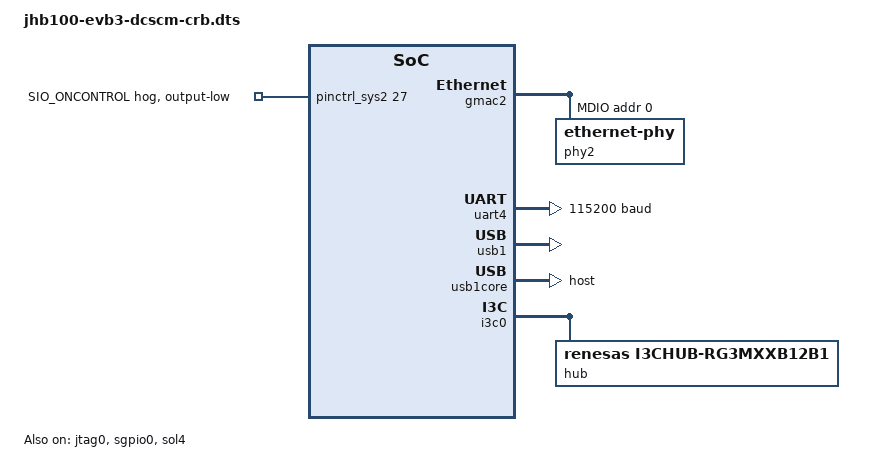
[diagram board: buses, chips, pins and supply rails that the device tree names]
// SPDX-License-Identifier: GPL-2.0 OR MIT
/*
 * Copyright (c) 2025 StarFive Technology Co., Ltd.
 */

#include "jhb100-evb3.dtsi"
#include "jhb100-dcscm-baseboard.dtsi"

/ {
	chosen {
		stdout-path = "serial4:115200n8";
	};
};

&espi0 {
	starfive,vgpio_mode = <1>;
	gpio-line-names  =
										/* Output pins */
		"", "", "", "",							/* VGPIO0-3 */
		"VW_FM_DUAL_PARTITION_N", "VW_FM_STANDALONE_MODE_N",		/* VGPIO4-5 */
		"VW_FM_4S_8S_N_MODE", "VW_FM_NODE_ID_1",			/* VGPIO6-7 */
		"VW_FM_NODE_ID_0", "", "", "", "", "", "", "",			/* VGPIO8-15*/
		"", "", "", "",	"", "", "", "",					/* VGPIO16-23 */
		"", "", "", "",	"", "", "", "",					/* VGPIO23-31 */
										/* Input pins */
		"", "", "", "",							/* VGPIO32-35 */
		"VW_FM_BIOS_POST_CMPLT_N", "VW_CORE_BIOS_DONE_N", "", "",	/* VGPIO36-39 */
		"", "", "", "",	"", "", "", "",					/* VGPIO40-47 */
		"", "", "", "",	"", "", "", "",					/* VGPIO48-55 */
		"", "", "", "",	"", "", "", "";					/* VGPIO56-63 */
};

&gmac2 {
	mdio {
		phy2: ethernet-phy@2 {
			reg = <0>;
		};
	};
};

&jtag0 {
	status = "okay";
};

&jtag1 {
	status = "disabled";
};

&pinctrl_adc0 {
	gpio-line-names =
		"IRQ_SML1_PMBUS_BMC_ALERT_N", "FM_SPD_SWITCH_CTRL_N",	/* GPIOG0-1 */
		"NMI_BUTTON", "FP_LED_STATUS_GREEN_N",			/* GPIOG2-3 */
		"FP_ID_BTN_N", "PWRGD_AUX_PWRGD_BMC_CPU0",		/* GPIOG4-5 */
		"NC", "NC";						/* GPIOG6-7 */
};

&pinctrl_adc1 {
	gpio-line-names =
		"RST_BMC_PCIE_MUX_N", "RST_BMC_HSBP_MUX_N",		/* GPIOH0-1 */
		"FM_SMB_BMC_NVME_LVC3_ALERT_N", "FM_PARTITION_SEL",	/* GPIOH2-3 */
		"REMOTE_DEBUG_ENABLE", "SIO_S3", "NC", "NC";		/* GPIOH4-7 */
};

&pinctrl_bmcperiph0 {
	gpio-line-names =
		"I2C0_SCL", "I2C0_SDA", "I2C1_SCL", "I2C1_SDA",			/* GPIOB0-3 */
		"I2C2_SCL", "I2C2_SDA", "I2C3_SCL", "I2C3_SDA",			/* GPIOB4-7 */
		"I2C4_SCL", "I2C4_SDA",						/* GPIOB8-9 */
		"PCH_BMC_THERMTRIP", "CPU_CATERR",				/* GPIOB10-11 */
		"I2C6_SCL", "I2C6_SDA", "I2C7_SCL", "I2C7_SDA",			/* GPIOB12-15 */
		"I2C8_SCL", "I2C8_SDA", "I2C9_SCL", "I2C9_SDA",			/* GPIOB16-19 */
		"I2C10_SCL", "I2C10_SDA", "I2C11_SCL", "I2C11_SDA",		/* GPIOB20-23 */
		"GMAC2_MDC", "GMAC2_MDIO", "NC", "NC",				/* GPIOB24-27 */
		"NC", "NC", "NC", "NC",						/* GPIOB28-31 */
		"NC", "NC", "NC", "NC",						/* GPIOB32-35 */
		"I3C12_SCL", "I3C12_SDA", "I3C13_SCL", "I3C13_SDA",		/* GPIOB36-39 */
		"FM_BMC_SAFS_EN", "FM_LED_BMC_CPU_RSTIND",			/* GPIOB40-41 */
		"PWRGD_CPU0_AUXPWRGD_1V8", "FM_SKT1_FAULT_LED",			/* GPIOB42-43 */
		"I3C0LV_SCL", "I3C0LV_SDA", "I3C1LV_SCL", "I3C1LV_SDA",		/* GPIOB44-47 */
		"I3C2LV_SCL", "I3C2LV_SDA", "NC", "NC",				/* GPIOB48-51 */
		"NC", "NC", "NC", "NC",						/* GPIOB52-55 */
		"NC", "NC", "NC", "NC";						/* GPIOB56-59 */

	gpioe-i3c0-vsel = <JHB100_VREF_3_3V>; /* VREF for GPIOB8-11, 32-33 */
	gpioe-i3c1-vsel = <JHB100_VREF_3_3V>; /* VREF for GPIOB12-15, 34-35 */
	gpioe-i3c2-vsel = <JHB100_VREF_3_3V>; /* VREF for GPIOB16-23 */
	gpioe-i3c4-vsel = <JHB100_VREF_1_8V>; /* VREF for GPIOB36-43 */
};

&pinctrl_bmcperiph1 {
	gpio-line-names =
		"SPI0_CS0", "SPI0_CS1", "SPI0_SCLK", "SPI0_TX",			/* GPIOC0-3 */
		"SPI0_RX", "SFC0_CS0", "FM_SKT0_FAULT_LED", "SFC0_SCLK",	/* GPIOC4-7 */
		"SFC0_IO0", "SFC0_IO1", "SFC0_IO2", "SFC0_IO3",			/* GPIOC8-11 */
		"RST_SRST_BMC_SCM_FPGA_N", "FM_CPU1_ERR0_LVT3_N",		/* GPIOC12-13 */
		"NC", "CPU_ERR2", "FM_NODE_ID0", "FM_NODE_ID1",			/* GPIOC14-17 */
		"CPU_ERR0", "CPU_ERR1", "PRDY_N", "PREQ_N",			/* GPIOC18-21 */
		"NC", "PWRGD_P1V0_BMC_AUX", "FM_4S_8S_N_MODE", "NC",		/* GPIOC22-25 */
		"FM_BMC_CMOS_CLR_R_N", "PS_PWROK",				/* GPIOC26-27 */
		"SGPIO0_CLK", "SGPIO0_LD", "SGPIO0_DO", "SGPIO0_DI",		/* GPIOC28-31 */
		"FM_STANDALONE_MODE_N", "FM_BMC_TRUST_N",			/* GPIOC32-33 */
		"FM_CPU1_ERR1_LVT3_N", "FM_CPU1_ERR2_LVT3_N";			/* GPIOC34-35 */

	gpioe-spi-vsel = <JHB100_VREF_3_3V>; /* VREF for GPIOC0-4 */
	gpioe-qspi0-vsel = <JHB100_VREF_3_3V>; /* VREF for GPIOC5-11 */
	gpioe-qspi1-vsel = <JHB100_VREF_3_3V>; /* VREF for GPIOC12-19 */
	gpioe-qspi2-vsel = <JHB100_VREF_3_3V>; /* VREF for GPIOC20-27 */
};

&pinctrl_bmcperiph2 {
	gpio-line-names =
		"SIO_POWER_GOOD", "FP_ID_LED_N",				/* GPIOD0-1 */
		"FP_LED_STATUS_AMBER_N", "SIO_S5",				/* GPIOD2-3 */
		"A_P3V_BAT_SCALED_EN", "NC", "FM_SPEAKER_BMC", "NC",		/* GPIOD4-7 */
		"FM_BMC_CPU_FBRK_OUT_R_N", "DBP_PRESENT_IN_R2_N",		/* GPIOD8-9 */
		"FM_TPM_EN_PULSE", "FM_FORCE_BMC_UPDATE_N",			/* GPIOD10-11 */
		"PLTRST_N", "NC", "NC", "NC",					/* GPIOD12-15 */
		"NC", "NC", "NC", "GMAC2_RXCLK",				/* GPIOD16-19 */
		"GMAC2_RXDV", "GMAC2_RXD0", "GMAC2_RXD1", "GMAC2_RXD2",		/* GPIOD20-23 */
		"GMAC2_RXD3", "GMAC2_TXCLK", "GMAC2_TXEN", "GMAC2_TXD0",	/* GPIOD24-27 */
		"GMAC2_TXD1", "GMAC2_TXD2", "GMAC2_TXD3";			/* GPIOD28-30 */

	gpionw-vsel = <JHB100_VREF_1_8V>; /* VREF for GPIOD19-30 */
};

&pinctrl_bmcperiph2_pok {
	gpio-line-names =
		"NC", "NC", "NC", "NC",					/* GPIOD31-34 */
		"NC", "NC", "RESET_BUTTON", "RESET_OUT",		/* GPIOD35-38 */
		"POWER_BUTTON", "FM_BMC_PWRBTN_OUT_R_N", "NC", "NC",	/* GPIOD39-42 */
		"NC", "NC", "NC", "NC",				/* GPIOD43-46 */
		"NC", "NC";						/* GPIOD47-48 */
};

&pinctrl_bmcperiph3 {
	gpio-line-names =
		"NC", "NC", "GMAC0_RXD1", "GMAC0_RXD0",				/* GPIOE0-3 */
		"GMAC0_RXDV", "CLK_1_8M_UART", "GMAC0_TXEN", "GMAC0_TXD0",	/* GPIOE4-7 */
		"GMAC0_TXD1", "GMAC0_RCLKI", "GMAC0_RCLKO";			/* GPIOE8-11 */

	gpios-vsel = <JHB100_VREF_3_3V>; /* VREF for GPIOE0-10 */
};

&pinctrl_emmc {
	gpio-line-names =
		"EMMC0_CLK", "EMMC0_RST", "EMMC0_CMD", "EMMC0_DQS",		/* GPIOF0-3 */
		"EMMC0_DATA0", "EMMC0_DATA1", "EMMC0_DATA2", "EMMC0_DATA3",	/* GPIOF4-7 */
		"EMMC0_DATA4", "EMMC0_DATA5", "EMMC0_DATA6", "EMMC0_DATA7";	/* GPIOF8-11 */
};

&pinctrl_sys0 {
	gpio-line-names =
		"PWRGD_CPU0_AUXPWRGD", "NC", "HB_LED", "NC";		/* GPIOA0-3 */
};

&pinctrl_sys0h {
	gpio-line-names =
		"ESPI0_IO0", "ESPI0_IO1", "ESPI0_IO2", "ESPI0_IO3",		/* GPIOA4-7 */
		"ESPI0_CLK", "ESPI0_CS", "ESPI0_ALERT", "ESPI0_RESET",		/* GPIOA8-11 */
		"DEBUG_EN_N", "PWR_DEBUG_N", "TCK_MUX_SEL", "XDP_PRST_N";	/* GPIOA12-15 */
};

&pinctrl_sys1 {
	gpio-line-names =
		"NC", "NC", "NC", "NC",		/* GPIOA16-19 */
		"NC", "NC", "NC", "NC";		/* GPIOA20-23 */
};

&pinctrl_sys2 {
	gpio-line-names =
		"NC", "NC", "NC", "NC",						/* GPIOA24-27 */
		"NC", "NC", "NC", "NC",						/* GPIOA28-31 */
		"NC", "NC", "UART4_TX", "UART4_RX",				/* GPIOA32-35 */
		"NC", "NC", "NC", "NC",						/* GPIOA36-39 */
		"NC", "NC", "NC", "NC",						/* GPIOA40-43 */
		"UART9_TX", "UART9_RX", "NC", "NC",				/* GPIOA44-47 */
		"UART11_TX", "UART11_RX", "FM_BMC_BMCINIT_R", "SIO_ONCONTROL",	/* GPIOA48-51 */
		"NC", "NC", "NC", "NC",						/* GPIOA52-55 */
		"NC", "NC", "NC", "NC",						/* GPIOA56-59 */
		"NC";								/* GPIOA60 */

	gpiow-vsel = <JHB100_VREF_3_3V>; /* VREF for GPIOA36-43 */

	gpioa51 {
		gpio-hog;
		gpios = <27 GPIO_ACTIVE_HIGH>;
		output-low;
		line-name = "SIO_ONCONTROL";
	};
};

&pinctrl_vga_vdac {
	gpio-line-names =
		"NC", "NC", "NC", "NC";		/* GPIOI0-3 */
};

&sgpio0 {
	status = "okay";

	/* SGPIO lines: Each IO number in pairs (input, output) */
	gpio-line-names =
	/* 0-1 */	"CPU1_PRESENCE", "P80_DOUT0", "CPU1_THERMTRIP", "P80_DOUT1",
	/* 2-3 */	"CPU1_VRHOT", "P80_DOUT2", "H_CPU0_MON_FAIL_LVC1_N", "P80_DOUT3",
	/* 4-5 */	"CPU1_MEM_VRHOT", "P80_DOUT4", "CPU1_MEM_THERM_EVENT", "P80_DOUT5",
	/* 6-7 */	"FM_CPU0_PROC_ID0", "P80_DOUT6", "FM_CPU0_PROC_ID1", "P80_DOUT7",
	/* 8-9 */	"CPU1_MISMATCH", "LED_CPU1_CH1_DIMM1_FAULT", "", "LED_CPU1_CH1_DIMM2_FAULT",
	/* 10-11 */	"CPU2_PRESENCE", "LED_CPU1_CH2_DIMM1_FAULT", "CPU2_THERMTRIP", "LED_CPU1_CH2_DIMM2_FAULT",
	/* 12-13 */	"CPU2_VRHOT", "LED_CPU1_CH3_DIMM1_FAULT", "H_CPU1_MON_FAIL_LVC1_N", "LED_CPU1_CH3_DIMM2_FAULT",
	/* 14-15 */	"CPU2_MEM_VRHOT", "LED_CPU1_CH4_DIMM1_FAULT", "CPU2_MEM_THERM_EVENT", "LED_CPU1_CH4_DIMM2_FAULT",
	/* 16-17 */	"FM_CPU1_PROC_ID0", "LED_CPU1_CH5_DIMM1_FAULT", "FM_CPU1_PROC_ID1", "LED_CPU1_CH5_DIMM2_FAULT",
	/* 18-19 */	"CPU2_MISMATCH", "LED_CPU1_CH6_DIMM1_FAULT", "", "LED_CPU1_CH6_DIMM2_FAULT",
	/* 20-21 */	"", "LED_FAN1_FAULT", "", "LED_FAN2_FAULT",
	/* 22-23 */	"", "LED_FAN3_FAULT", "", "LED_FAN4_FAULT",
	/* 24-25 */	"", "LED_FAN5_FAULT", "", "LED_FAN6_FAULT",
	/* 26-27 */	"", "LED_FAN7_FAULT", "", "LED_FAN8_FAULT",
	/* 28-29 */	"", "LED_CPU2_CH1_DIMM1_FAULT", "", "LED_CPU2_CH1_DIMM2_FAULT",
	/* 30-31 */	"", "LED_CPU2_CH2_DIMM1_FAULT", "", "LED_CPU2_CH2_DIMM2_FAULT",
	/* 32-33 */	"", "LED_CPU2_CH3_DIMM1_FAULT", "", "LED_CPU2_CH3_DIMM2_FAULT",
	/* 34-35 */	"", "LED_CPU2_CH4_DIMM1_FAULT", "", "LED_CPU2_CH4_DIMM2_FAULT",
	/* 36-37 */	"", "LED_CPU2_CH5_DIMM1_FAULT", "", "LED_CPU2_CH5_DIMM2_FAULT",
	/* 38-39 */	"", "LED_CPU2_CH6_DIMM1_FAULT", "CPU1_CPLD_CRC_ERROR", "LED_CPU2_CH6_DIMM2_FAULT",
	/* 40-41 */	"CPU2_CPLD_CRC_ERROR", "", "CPU1_CATERR_IERR", "",
	/* 42-43 */	"CPU1_CATERR_MCERR", "", "CPU2_CATERR_IERR", "",
	/* 44-45 */	"CPU2_CATERR_MCERR", "", "", "",
	/* 46-47 */	"", "", "", "",
	/* 48-49 */	"MAIN_PLD_MINOR_REV_BIT0", "", "MAIN_PLD_MINOR_REV_BIT1", "",
	/* 50-51 */	"MAIN_PLD_MINOR_REV_BIT2", "", "MAIN_PLD_MINOR_REV_BIT3", "",
	/* 52-53 */	"MAIN_PLD_MAJOR_REV_BIT0", "", "MAIN_PLD_MAJOR_REV_BIT1", "",
	/* 54-55 */	"MAIN_PLD_MAJOR_REV_BIT2", "", "MAIN_PLD_MAJOR_REV_BIT3", "",
	/* 56-57 */	"", "", "WMEMX_PWR_FLT", "",
	/* 58-59 */	"WCPUX_MEM_PWR_FLT", "", "PWRGD_P3V3_FF", "",
	/* 60-61 */	"WPSU_PWR_FLT", "", "", "",
	/* 62-63 */	"", "", "WPCH_PWR_FLT", "",
	/* 64-65 */	"FM_CPU0_PKGID0", "LED_CPU1_CH7_DIMM1_FAULT", "FM_CPU0_PKGID1", "LED_CPU1_CH7_DIMM2_FAULT",
	/* 66-67 */	"FM_CPU0_PKGID2", "LED_CPU1_CH8_DIMM1_FAULT", "H_CPU0_MEMTRIP_LVC1_N", "LED_CPU1_CH8_DIMM2_FAULT",
	/* 68-69 */	"FM_CPU1_PKGID0", "LED_CPU2_CH7_DIMM1_FAULT", "FM_CPU1_PKGID1", "LED_CPU2_CH7_DIMM2_FAULT",
	/* 70-71 */	"FM_CPU1_PKGID2", "LED_CPU2_CH8_DIMM1_FAULT", "H_CPU1_MEMTRIP_LVC1_N", "LED_CPU2_CH8_DIMM2_FAULT",
	/* 72-73 */	"", "", "", "",
	/* 74-75 */	"", "", "", "",
	/* 76-77 */	"", "", "", "",
	/* 78-79 */	"", "", "", "",
	/* 80-81 */	"FM_BOARD_REV_ID0", "LED_CPU0_CH9_DIMM1_FAULT", "FM_BOARD_REV_ID1", "LED_CPU0_CH9_DIMM2_FAULT",
	/* 82-83 */	"FM_BOARD_REV_ID2", "LED_CPU0_CH10_DIMM1_FAULT", "FM_BOARD_SKU_ID0", "LED_CPU0_CH10_DIMM2_FAULT",
	/* 84-85 */	"FM_BOARD_SKU_ID1", "LED_CPU0_CH11_DIMM1_FAULT", "FM_BOARD_SKU_ID2", "LED_CPU0_CH11_DIMM2_FAULT",
	/* 86-87 */	"FM_BOARD_SKU_ID3", "LED_CPU0_CH12_DIMM1_FAULT", "FM_BOARD_SKU_ID4", "LED_CPU0_CH12_DIMM2_FAULT",
	/* 88-89 */	"FM_BOARD_SKU_ID5", "LED_CPU1_CH9_DIMM1_FAULT", "FM_BMC_VAL_EN", "LED_CPU1_CH9_DIMM2_FAULT",
	/* 90-91 */	"FM_SERIAL_BOOT", "LED_CPU1_CH10_DIMM1_FAULT", "", "LED_CPU1_CH10_DIMM2_FAULT",
	/* 92-93 */	"S0_PWROK", "LED_CPU1_CH11_DIMM1_FAULT", "", "LED_CPU1_CH11_DIMM2_FAULT",
	/* 94-95 */	"", "LED_CPU1_CH12_DIMM1_FAULT", "", "LED_CPU1_CH12_DIMM1_FAULT",
	/* 96-97 */	"", "FM_SURPRISE_RESET_N", "", "FM_CPU1_INTR_CLK_CONFDONE_N",
	/* 98-99 */	"", "FM_GLOBAL_RESET_N", "FM_1200VA_OC", "BMC_BOOT_DONE",
	/* 100-101 */	"", "IRQ_BMC_CPU_NMI_P0", "", "IRQ_BMC_CPU_NMI_P1",
	/* 102-103 */	"", "", "", "",
	/* 104-105 */	"", "", "", "",
	/* 106-107 */	"", "", "", "",
	/* 108-109 */	"", "", "", "",
	/* 110-111 */	"", "", "", "",
	/* 112-113 */	"R1S_PRESENCE", "", "", "",
	/* 114-115 */	"", "", "", "",
	/* 116-117 */	"", "", "", "",
	/* 118-119 */	"", "", "", "",
	/* 120-121 */	"", "", "", "",
	/* 122-123 */	"", "", "", "",
	/* 124-125 */	"", "", "", "",
	/* 126-127 */	"", "", "", "";
};

&sol4 {
	memory-region = <&sol_tx_mem_uncache>,
			<&sol_rx_mem_uncache>;
	tx-size = <3>;
	rx-size = <3>;
	dev-id = <4>;
	status = "okay";
};

&uart4 {
	status = "okay";
	current-speed = <115200>;
	/delete-property/ resets;
};

&usb0 {
	status = "disabled";
};

&usb1 {
	status = "okay";
};

&usb1core {
	dr_mode = "host";
};

&i3c0 {
	i2c-scl-hz = <400000>;
	i3c-scl-hz = <12500000>;
	mode = "master";
	i3c-od-scl-high-ns = <1000>;
	i3c-od-scl-low-ns = <1500>;
	i3c-pp-scl-high-ns = <60>;
	i3c-pp-scl-low-ns = <100>;
	master-sda-tx-hold = <3>;
	master-sda-pp-od-switch-dly = <1>;
	master-sda-od-pp-switch-dly = <1>;
	master-stop-hold-cnt = <0xf>;
	is-mng;
	status = "okay";
	#address-cells = <3>;
	#size-cells = <0>;

	hub@0,4cd00000000 {
		compatible = "renesas,i3chub-rg3mxxb12b1";
		reg = <0x0 0x4cd 0x0>;
		cp0-ldo-en = "disabled";
		cp1-ldo-en = "disabled";
		cp0-ldo-volt = "1.0V";
		cp1-ldo-volt = "1.0V";
		tp0145-ldo-en = "disabled";
		tp2367-ldo-en = "disabled";
		tp0145-ldo-volt = "1.0V";
		tp2367-ldo-volt = "1.0V";
		tp0145-pullup = "2k";
		tp2367-pullup = "2k";
		tp0145-io-strength = "50Ohms";
		tp2367-io-strength = "50Ohms";

		target-port@0 {
			mode = "i3c";
			pullup = "enabled";
		};
		target-port@1 {
			mode = "disabled";
			pullup = "disabled";
		};
		target-port@2 {
			mode = "disabled";
			pullup = "disabled";
		};
		target-port@3 {
			mode = "disabled";
			pullup = "disabled";
		};
		target-port@4 {
			mode = "disabled";
			pullup = "disabled";
		};
		target-port@5 {
			mode = "disabled";
			pullup = "disabled";
		};
		target-port@6 {
			mode = "disabled";
			pullup = "disabled";
		};
		target-port@7 {
			mode = "disabled";
			pullup = "disabled";
		};
	};
};

&dc0_clk {
	single-node = <1>;
	status = "okay";
};

&rpmi_pmdomain {
	off-domains = <PD_HOST1_USB PD_GPU0 PD_GPU1 PD_DC1 PD_HOSTSS_i1 PD_UFS PD_BMCPCIe_RP>;
};
